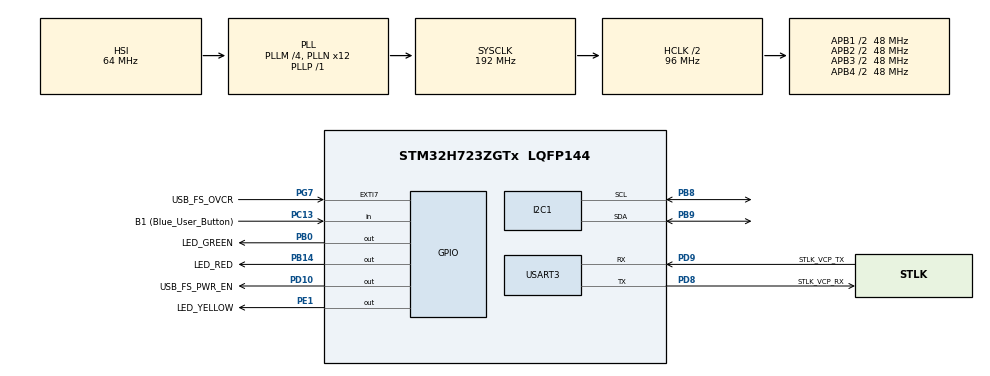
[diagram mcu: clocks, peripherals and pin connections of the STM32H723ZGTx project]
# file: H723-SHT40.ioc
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I2C1.Timing=0x20303E5D
Mcu.Family=STM32H7
Mcu.Name=STM32H723ZGTx
Mcu.Package=LQFP144
NVIC.PriorityGroup=NVIC_PRIORITYGROUP_4
PA1.GPIO_Label=RMII_REF_CLK
PA1.Signal=ETH_REF_CLK
PA10.GPIO_Label=USB_FS_ID
PA10.Signal=USB_OTG_HS_ID
PA13(JTMS/SWDIO).GPIO_Label=SWDIO
PA13(JTMS/SWDIO).Mode=Trace_Asynchronous_SW
PA13(JTMS/SWDIO).Signal=DEBUG_JTMS-SWDIO
PA14(JTCK/SWCLK).GPIO_Label=SWCLK
PA14(JTCK/SWCLK).Mode=Trace_Asynchronous_SW
PA14(JTCK/SWCLK).Signal=DEBUG_JTCK-SWCLK
PA2.GPIO_Label=RMII_MDIO
PA2.Signal=ETH_MDIO
PA7.GPIO_Label=RMII_CRS_DV
PA7.Signal=ETH_CRS_DV
PA9.GPIO_Label=USB_FS_VBUS
PA9.Signal=USB_OTG_HS_VBUS
PB0.GPIO_Label=LED_GREEN
PB0.Signal=GPIO_Output
PB13.GPIO_Label=RMII_TXD1
PB13.Signal=ETH_TXD1
PB14.GPIO_Label=LED_RED
PB14.Signal=GPIO_Output
PB3(JTDO/TRACESWO).GPIO_Label=SWO
PB3(JTDO/TRACESWO).Mode=Trace_Asynchronous_SW
PB3(JTDO/TRACESWO).Signal=DEBUG_JTDO-SWO
PB8.Mode=I2C
PB8.Signal=I2C1_SCL
PB9.Mode=I2C
PB9.Signal=I2C1_SDA
PC1.GPIO_Label=RMII_MDC
PC1.Signal=ETH_MDC
PC13.GPIO_Label=B1 (Blue_User_Button)
PC13.Signal=GPIO_Input
PC14-OSC32_IN.Signal=RCC_OSC32_IN
PC15-OSC32_OUT.Signal=RCC_OSC32_OUT
PC4.GPIO_Label=RMII_RXD0
PC4.Signal=ETH_RXD0
PC5.GPIO_Label=RMII_RXD1
PC5.Signal=ETH_RXD1
PD10.GPIO_Label=USB_FS_PWR_EN
PD10.Signal=GPIO_Output
PD8.GPIO_Label=STLK_VCP_RX
PD8.Mode=Asynchronous
PD8.Signal=USART3_TX
PD9.GPIO_Label=STLK_VCP_TX
PD9.Mode=Asynchronous
PD9.Signal=USART3_RX
PE1.GPIO_Label=LED_YELLOW
PE1.Signal=GPIO_Output
PG11.GPIO_Label=RMII_TX_EN
PG11.Signal=ETH_TX_EN
PG13.GPIO_Label=RMII_TXD0
PG13.Signal=ETH_TXD0
PG7.GPIO_Label=USB_FS_OVCR
PG7.Signal=GPXTI7
PH0-OSC_IN.GPIO_Label=MCO
PH0-OSC_IN.Signal=RCC_OSC_IN
PH1-OSC_OUT.Signal=RCC_OSC_OUT
ProjectManager.HeapSize=0x200
ProjectManager.StackSize=0x400
ProjectManager.TargetToolchain=STM32CubeIDE
RCC.ADCFreq_Value=608000000
RCC.APB1Freq_Value=48000000
RCC.APB2Freq_Value=48000000
RCC.APB3Freq_Value=48000000
RCC.APB4Freq_Value=48000000
RCC.CortexFreq_Value=192000000
RCC.D1PPRE=RCC_APB3_DIV2
RCC.D2PPRE1=RCC_APB1_DIV2
RCC.D2PPRE2=RCC_APB2_DIV2
RCC.D3PPRE=RCC_APB4_DIV2
RCC.DIVM1=4
RCC.DIVM2=1
RCC.DIVN1=12
RCC.DIVN2=19
RCC.DIVP1=1
RCC.DIVQ1=4
RCC.HCLKFreq_Value=96000000
RCC.HPRE=RCC_HCLK_DIV2
RCC.HSE_VALUE=8000000
RCC.PLLFRACN=0
RCC.SYSCLKFreq_VALUE=192000000
RCC.SYSCLKSource=RCC_SYSCLKSOURCE_PLLCLK
RCC.USBCLockSelection=RCC_USBCLKSOURCE_HSI48
RCC.USBFreq_Value=48000000
USART3.VirtualMode-Asynchronous=VM_ASYNC
board=NUCLEO-H723ZG

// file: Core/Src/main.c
/* USER CODE BEGIN Header */
/**
  ******************************************************************************
  * @file           : main.c
  * @brief          : Main program body
  ******************************************************************************
  * @attention
  *
  * Copyright (c) 2024 STMicroelectronics.
  * All rights reserved.
  *
  * This software is licensed under terms that can be found in the LICENSE file
  * in the root directory of this software component.
  * If no LICENSE file comes with this software, it is provided AS-IS.
  *
  ******************************************************************************
  */
/* USER CODE END Header */
#include "main.h"

/* USER CODE BEGIN Includes */
#include <stdio.h>
#include "sht40.h"

/* USER CODE END Includes */

I2C_HandleTypeDef hi2c1;

UART_HandleTypeDef huart3;

void SystemClock_Config(void);
static void MX_GPIO_Init(void);
static void MX_I2C1_Init(void);
static void MX_USART3_UART_Init(void);

int main(void)
{
  /* USER CODE BEGIN 1 */
  SHT40 sht40;
  /* USER CODE END 1 */

  /* MCU Configuration--------------------------------------------------------*/

  /* Reset of all peripherals, Initializes the Flash interface and the Systick. */
  HAL_Init();

  /* Configure the system clock */
  SystemClock_Config();

  /* Initialize all configured peripherals */
  MX_GPIO_Init();
  MX_I2C1_Init();
  MX_USART3_UART_Init();
  /* USER CODE BEGIN 2 */

  sht40_init(&sht40, &hi2c1);

  /* USER CODE END 2 */

  /* Infinite loop */
  /* USER CODE BEGIN WHILE */
  HAL_StatusTypeDef status;
  while (1)
  {
	HAL_GPIO_TogglePin(LED_GREEN_GPIO_Port, LED_GREEN_Pin);
	status = sht40_start_measurement(&sht40);
    if (status != HAL_OK) Error_Handler();
    HAL_Delay(10);
    status = sht40_read(&sht40);
    if (status != HAL_OK) Error_Handler();
    float f = sht40_temperatureF(&sht40);
    float rh = sht40_relative_humidity(&sht40);
    printf("%0.1f °F %2.0f%%\r\n", f, rh);
    HAL_Delay(2000);
    /* USER CODE END WHILE */

  }
}

void SystemClock_Config(void)
{
  RCC_OscInitTypeDef RCC_OscInitStruct = {0};
  RCC_ClkInitTypeDef RCC_ClkInitStruct = {0};

  /** Supply configuration update enable
  */
  HAL_PWREx_ConfigSupply(PWR_LDO_SUPPLY);

  /** Configure the main internal regulator output voltage
  */
  __HAL_PWR_VOLTAGESCALING_CONFIG(PWR_REGULATOR_VOLTAGE_SCALE2);

  while(!__HAL_PWR_GET_FLAG(PWR_FLAG_VOSRDY)) {}

  /** Initializes the RCC Oscillators according to the specified parameters
  * in the RCC_OscInitTypeDef structure.
  */
  RCC_OscInitStruct.OscillatorType = RCC_OSCILLATORTYPE_HSI;
  RCC_OscInitStruct.HSIState = RCC_HSI_DIV1;
  RCC_OscInitStruct.HSICalibrationValue = 64;
  RCC_OscInitStruct.PLL.PLLState = RCC_PLL_ON;
  RCC_OscInitStruct.PLL.PLLSource = RCC_PLLSOURCE_HSI;
  RCC_OscInitStruct.PLL.PLLM = 4;
  RCC_OscInitStruct.PLL.PLLN = 12;
  RCC_OscInitStruct.PLL.PLLP = 1;
  RCC_OscInitStruct.PLL.PLLQ = 4;
  RCC_OscInitStruct.PLL.PLLR = 2;
  RCC_OscInitStruct.PLL.PLLRGE = RCC_PLL1VCIRANGE_3;
  RCC_OscInitStruct.PLL.PLLVCOSEL = RCC_PLL1VCOWIDE;
  RCC_OscInitStruct.PLL.PLLFRACN = 0;
  if (HAL_RCC_OscConfig(&RCC_OscInitStruct) != HAL_OK)
  {
    Error_Handler();
  }

  /** Initializes the CPU, AHB and APB buses clocks
  */
  RCC_ClkInitStruct.ClockType = RCC_CLOCKTYPE_HCLK|RCC_CLOCKTYPE_SYSCLK
                              |RCC_CLOCKTYPE_PCLK1|RCC_CLOCKTYPE_PCLK2
                              |RCC_CLOCKTYPE_D3PCLK1|RCC_CLOCKTYPE_D1PCLK1;
  RCC_ClkInitStruct.SYSCLKSource = RCC_SYSCLKSOURCE_PLLCLK;
  RCC_ClkInitStruct.SYSCLKDivider = RCC_SYSCLK_DIV1;
  RCC_ClkInitStruct.AHBCLKDivider = RCC_HCLK_DIV2;
  RCC_ClkInitStruct.APB3CLKDivider = RCC_APB3_DIV2;
  RCC_ClkInitStruct.APB1CLKDivider = RCC_APB1_DIV2;
  RCC_ClkInitStruct.APB2CLKDivider = RCC_APB2_DIV2;
  RCC_ClkInitStruct.APB4CLKDivider = RCC_APB4_DIV2;

  if (HAL_RCC_ClockConfig(&RCC_ClkInitStruct, FLASH_LATENCY_1) != HAL_OK)
  {
    Error_Handler();
  }
}

static void MX_I2C1_Init(void)
{

  hi2c1.Instance = I2C1;
  hi2c1.Init.Timing = 0x20303E5D;
  hi2c1.Init.OwnAddress1 = 0;
  hi2c1.Init.AddressingMode = I2C_ADDRESSINGMODE_7BIT;
  hi2c1.Init.DualAddressMode = I2C_DUALADDRESS_DISABLE;
  hi2c1.Init.OwnAddress2 = 0;
  hi2c1.Init.OwnAddress2Masks = I2C_OA2_NOMASK;
  hi2c1.Init.GeneralCallMode = I2C_GENERALCALL_DISABLE;
  hi2c1.Init.NoStretchMode = I2C_NOSTRETCH_DISABLE;
  if (HAL_I2C_Init(&hi2c1) != HAL_OK)
  {
    Error_Handler();
  }

  /** Configure Analogue filter
  */
  if (HAL_I2CEx_ConfigAnalogFilter(&hi2c1, I2C_ANALOGFILTER_ENABLE) != HAL_OK)
  {
    Error_Handler();
  }

  /** Configure Digital filter
  */
  if (HAL_I2CEx_ConfigDigitalFilter(&hi2c1, 0) != HAL_OK)
  {
    Error_Handler();
  }

}

static void MX_USART3_UART_Init(void)
{

  huart3.Instance = USART3;
  huart3.Init.BaudRate = 115200;
  huart3.Init.WordLength = UART_WORDLENGTH_8B;
  huart3.Init.StopBits = UART_STOPBITS_1;
  huart3.Init.Parity = UART_PARITY_NONE;
  huart3.Init.Mode = UART_MODE_TX_RX;
  huart3.Init.HwFlowCtl = UART_HWCONTROL_NONE;
  huart3.Init.OverSampling = UART_OVERSAMPLING_16;
  huart3.Init.OneBitSampling = UART_ONE_BIT_SAMPLE_DISABLE;
  huart3.Init.ClockPrescaler = UART_PRESCALER_DIV1;
  huart3.AdvancedInit.AdvFeatureInit = UART_ADVFEATURE_NO_INIT;
  if (HAL_UART_Init(&huart3) != HAL_OK)
  {
    Error_Handler();
  }
  if (HAL_UARTEx_SetTxFifoThreshold(&huart3, UART_TXFIFO_THRESHOLD_1_8) != HAL_OK)
  {
    Error_Handler();
  }
  if (HAL_UARTEx_SetRxFifoThreshold(&huart3, UART_RXFIFO_THRESHOLD_1_8) != HAL_OK)
  {
    Error_Handler();
  }
  if (HAL_UARTEx_DisableFifoMode(&huart3) != HAL_OK)
  {
    Error_Handler();
  }

}

static void MX_GPIO_Init(void)
{
  GPIO_InitTypeDef GPIO_InitStruct = {0};

  /* GPIO Ports Clock Enable */
  __HAL_RCC_GPIOC_CLK_ENABLE();
  __HAL_RCC_GPIOH_CLK_ENABLE();
  __HAL_RCC_GPIOA_CLK_ENABLE();
  __HAL_RCC_GPIOB_CLK_ENABLE();
  __HAL_RCC_GPIOD_CLK_ENABLE();
  __HAL_RCC_GPIOG_CLK_ENABLE();
  __HAL_RCC_GPIOE_CLK_ENABLE();

  /*Configure GPIO pin Output Level */
  HAL_GPIO_WritePin(GPIOB, LED_GREEN_Pin|LED_RED_Pin, GPIO_PIN_RESET);

  /*Configure GPIO pin Output Level */
  HAL_GPIO_WritePin(USB_FS_PWR_EN_GPIO_Port, USB_FS_PWR_EN_Pin, GPIO_PIN_RESET);

  /*Configure GPIO pin Output Level */
  HAL_GPIO_WritePin(LED_YELLOW_GPIO_Port, LED_YELLOW_Pin, GPIO_PIN_RESET);

  /*Configure GPIO pin : B1_Pin */
  GPIO_InitStruct.Pin = B1_Pin;
  GPIO_InitStruct.Mode = GPIO_MODE_INPUT;
  GPIO_InitStruct.Pull = GPIO_NOPULL;
  HAL_GPIO_Init(B1_GPIO_Port, &GPIO_InitStruct);

  /*Configure GPIO pins : RMII_MDC_Pin RMII_RXD0_Pin RMII_RXD1_Pin */
  GPIO_InitStruct.Pin = RMII_MDC_Pin|RMII_RXD0_Pin|RMII_RXD1_Pin;
  GPIO_InitStruct.Mode = GPIO_MODE_AF_PP;
  GPIO_InitStruct.Pull = GPIO_NOPULL;
  GPIO_InitStruct.Speed = GPIO_SPEED_FREQ_LOW;
  GPIO_InitStruct.Alternate = GPIO_AF11_ETH;
  HAL_GPIO_Init(GPIOC, &GPIO_InitStruct);

  /*Configure GPIO pins : RMII_REF_CLK_Pin RMII_MDIO_Pin RMII_CRS_DV_Pin */
  GPIO_InitStruct.Pin = RMII_REF_CLK_Pin|RMII_MDIO_Pin|RMII_CRS_DV_Pin;
  GPIO_InitStruct.Mode = GPIO_MODE_AF_PP;
  GPIO_InitStruct.Pull = GPIO_NOPULL;
  GPIO_InitStruct.Speed = GPIO_SPEED_FREQ_LOW;
  GPIO_InitStruct.Alternate = GPIO_AF11_ETH;
  HAL_GPIO_Init(GPIOA, &GPIO_InitStruct);

  /*Configure GPIO pins : LED_GREEN_Pin LED_RED_Pin */
  GPIO_InitStruct.Pin = LED_GREEN_Pin|LED_RED_Pin;
  GPIO_InitStruct.Mode = GPIO_MODE_OUTPUT_PP;
  GPIO_InitStruct.Pull = GPIO_NOPULL;
  GPIO_InitStruct.Speed = GPIO_SPEED_FREQ_LOW;
  HAL_GPIO_Init(GPIOB, &GPIO_InitStruct);

  /*Configure GPIO pin : RMII_TXD1_Pin */
  GPIO_InitStruct.Pin = RMII_TXD1_Pin;
  GPIO_InitStruct.Mode = GPIO_MODE_AF_PP;
  GPIO_InitStruct.Pull = GPIO_NOPULL;
  GPIO_InitStruct.Speed = GPIO_SPEED_FREQ_LOW;
  GPIO_InitStruct.Alternate = GPIO_AF11_ETH;
  HAL_GPIO_Init(RMII_TXD1_GPIO_Port, &GPIO_InitStruct);

  /*Configure GPIO pin : USB_FS_PWR_EN_Pin */
  GPIO_InitStruct.Pin = USB_FS_PWR_EN_Pin;
  GPIO_InitStruct.Mode = GPIO_MODE_OUTPUT_PP;
  GPIO_InitStruct.Pull = GPIO_NOPULL;
  GPIO_InitStruct.Speed = GPIO_SPEED_FREQ_LOW;
  HAL_GPIO_Init(USB_FS_PWR_EN_GPIO_Port, &GPIO_InitStruct);

  /*Configure GPIO pin : USB_FS_OVCR_Pin */
  GPIO_InitStruct.Pin = USB_FS_OVCR_Pin;
  GPIO_InitStruct.Mode = GPIO_MODE_IT_RISING;
  GPIO_InitStruct.Pull = GPIO_NOPULL;
  HAL_GPIO_Init(USB_FS_OVCR_GPIO_Port, &GPIO_InitStruct);

  /*Configure GPIO pin : USB_FS_ID_Pin */
  GPIO_InitStruct.Pin = USB_FS_ID_Pin;
  GPIO_InitStruct.Mode = GPIO_MODE_AF_PP;
  GPIO_InitStruct.Pull = GPIO_NOPULL;
  GPIO_InitStruct.Speed = GPIO_SPEED_FREQ_LOW;
  GPIO_InitStruct.Alternate = GPIO_AF10_OTG1_HS;
  HAL_GPIO_Init(USB_FS_ID_GPIO_Port, &GPIO_InitStruct);

  /*Configure GPIO pins : RMII_TX_EN_Pin RMII_TXD0_Pin */
  GPIO_InitStruct.Pin = RMII_TX_EN_Pin|RMII_TXD0_Pin;
  GPIO_InitStruct.Mode = GPIO_MODE_AF_PP;
  GPIO_InitStruct.Pull = GPIO_NOPULL;
  GPIO_InitStruct.Speed = GPIO_SPEED_FREQ_LOW;
  GPIO_InitStruct.Alternate = GPIO_AF11_ETH;
  HAL_GPIO_Init(GPIOG, &GPIO_InitStruct);

  /*Configure GPIO pin : LED_YELLOW_Pin */
  GPIO_InitStruct.Pin = LED_YELLOW_Pin;
  GPIO_InitStruct.Mode = GPIO_MODE_OUTPUT_PP;
  GPIO_InitStruct.Pull = GPIO_NOPULL;
  GPIO_InitStruct.Speed = GPIO_SPEED_FREQ_LOW;
  HAL_GPIO_Init(LED_YELLOW_GPIO_Port, &GPIO_InitStruct);

}

/* USER CODE BEGIN 4 */
int __io_putchar(int ch)
{
    HAL_UART_Transmit(&huart3, (uint8_t *)(&ch), 1, 0xFFFF);

    return ch;
}
/* USER CODE END 4 */

void Error_Handler(void)
{
  /* USER CODE BEGIN Error_Handler_Debug */
  /* User can add his own implementation to report the HAL error return state */
  __disable_irq();
  HAL_GPIO_WritePin(LED_GREEN_GPIO_Port, LED_GREEN_Pin, GPIO_PIN_RESET);
  while (1)
  {
	  HAL_GPIO_TogglePin(LED_RED_GPIO_Port, LED_RED_Pin);
	  HAL_Delay(100);
  }
  /* USER CODE END Error_Handler_Debug */
}
